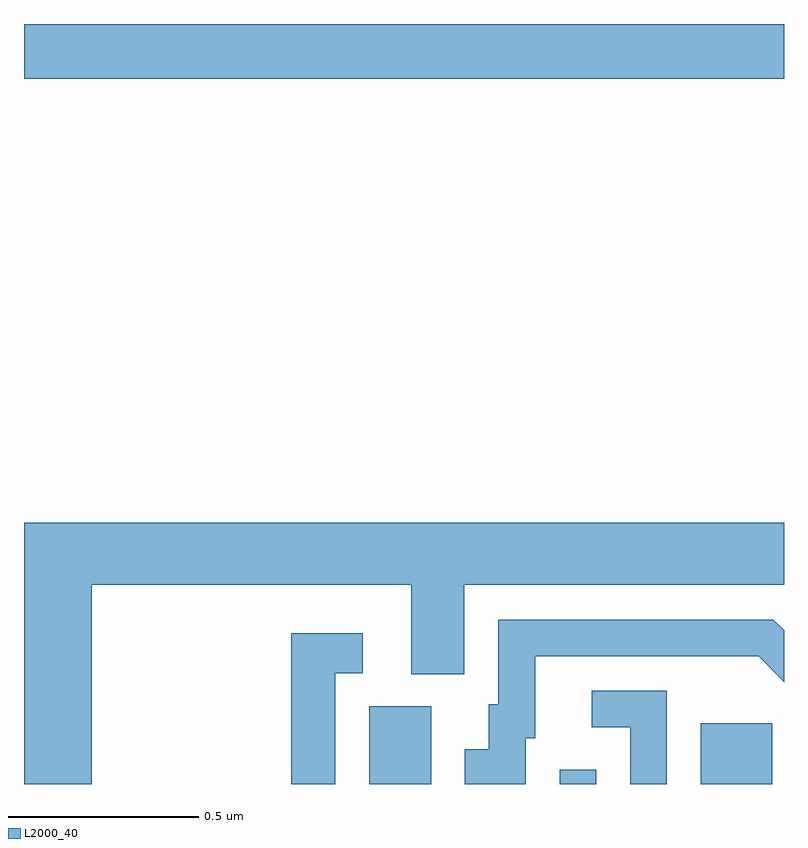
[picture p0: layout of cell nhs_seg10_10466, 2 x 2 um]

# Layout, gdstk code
import gdstk
lib = gdstk.Library(unit=1e-6, precision=1e-09)
def R(c, l, rs):  # rectangles x0, y0, x1, y1
    for r in rs: c.add(gdstk.rectangle(r[:2], r[2:], *l))
def P(c, l, *ps):  # polygons
    for p in ps: c.add(gdstk.Polygon(p, *l))
L2000_40 = (2000, 40)

nhs_seg10_10466 = lib.new_cell('nhs_seg10_10466')
R(nhs_seg10_10466, L2000_40, [(243.908,1258.5,244.072,1258.704), (244.41,1258.5,244.506,1258.537), (244.781,1258.5,244.969,1258.66), (243,1260.356,245,1260.5)])
P(nhs_seg10_10466, L2000_40, [(243.178,1259.024),(244.019,1259.024),(244.019,1258.789),(244.159,1258.789),(244.159,1259.024),(245,1259.024),(245,1259.188),(243,1259.188),(243,1258.5),(243.178,1258.5)],
  [(244.321,1258.62),(244.345,1258.62),(244.345,1258.836),(244.933,1258.836),(245,1258.768),(245,1258.904),(244.972,1258.932),(244.248,1258.932),(244.248,1258.71),(244.223,1258.71),(244.223,1258.591),(244.16,1258.591),(244.16,1258.5),(244.321,1258.5)],
  [(243.819,1258.791),(243.892,1258.791),(243.892,1258.897),(243.703,1258.897),(243.703,1258.5),(243.819,1258.5)],
  [(244.692,1258.746),(244.494,1258.746),(244.494,1258.65),(244.596,1258.65),(244.596,1258.5),(244.692,1258.5)])

lib.write_gds('nhs_seg10_10466.gds')
